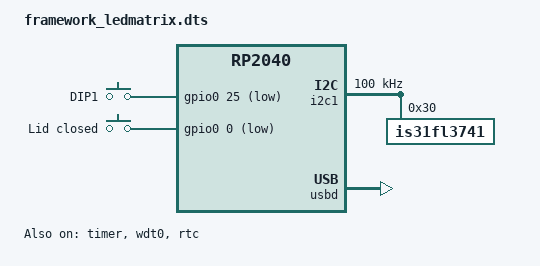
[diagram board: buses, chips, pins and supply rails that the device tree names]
/*
 * Copyright (c) 2025 Framework Computer Inc
 * SPDX-License-Identifier: Apache-2.0
 */

/dts-v1/;

#include <raspberrypi/rpi_pico/rp2040.dtsi>
#include <zephyr/dt-bindings/i2c/i2c.h>
#include <zephyr/dt-bindings/input/input-event-codes.h>
#include "framework_ledmatrix-pinctrl.dtsi"

/ {
	chosen {
		zephyr,sram = &sram0;
		zephyr,flash = &flash0;
		zephyr,flash-controller = &ssi;
		zephyr,code-partition = &code_partition;
	};

	aliases {
		/* Alias to easily get the device in C */
		led-blank-switch = &lid_closed;
		rtc = &rtc;
		watchdog0 = &wdt0;
	};

	gpio_keys {
		compatible = "gpio-keys";

		/* Dip switch on the back - not normally accessible during usage */
		dip1: dip1 {
			gpios = <&gpio0 25 (GPIO_PULL_UP | GPIO_ACTIVE_LOW)>;
			zephyr,code = <INPUT_KEY_0>;
			label = "DIP1";
		};

		/* Pin from the EC on the mainboard - low indicating lid of the laptop is closed */
		lid_closed: lid-closed {
			gpios = <&gpio0 0 (GPIO_PULL_UP | GPIO_ACTIVE_LOW)>;
			zephyr,code = <INPUT_KEY_1>;
			label = "Lid closed";
		};
	};
};

&flash0 {
	reg = <0x10000000 DT_SIZE_M(1)>;

	partitions {
		compatible = "fixed-partitions";
		#address-cells = <1>;
		#size-cells = <1>;

		/* Reserved memory for the second stage bootloader */
		second_stage_bootloader: partition@0 {
			reg = <0x00000000 0x100>;
			read-only;
		};

		/*
		 * Usable flash. Starts at 0x100, after the bootloader. The partition
		 * size is 1MB minus the 0x100 bytes taken by the bootloader.
		 */
		code_partition: partition@100 {
			reg = <0x100 (DT_SIZE_M(1) - 0x100)>;
			read-only;
		};
	};
};

&i2c1 {
	status = "okay";
	pinctrl-0 = <&i2c1_default>;
	pinctrl-names = "default";
	clock-frequency = <I2C_BITRATE_STANDARD>;

	is31fl3741@30 {
		status = "okay";
		reg = <0x30>;
	};
};

&timer {
	status = "okay";
};

&wdt0 {
	status = "okay";
};

&rtc {
	clocks = <&clocks RPI_PICO_CLKID_CLK_RTC>;
	status = "okay";
};

zephyr_udc0: &usbd {
	status = "okay";
};

&gpio0 {
	status = "okay";
};

&vreg {
	regulator-always-on;
	regulator-allowed-modes = <REGULATOR_RPI_PICO_MODE_NORMAL>;
};
